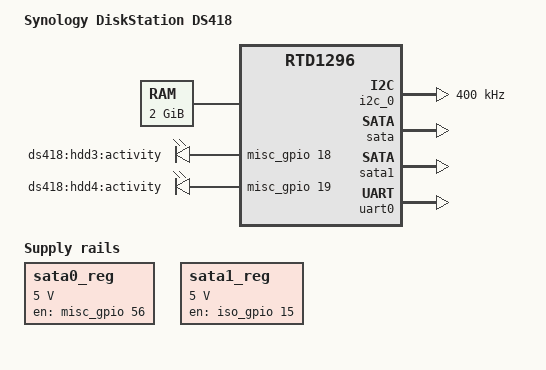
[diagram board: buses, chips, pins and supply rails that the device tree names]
// SPDX-License-Identifier: (GPL-2.0-or-later OR BSD-2-Clause)
/*
 * Copyright (c) 2017-2019 Andreas Färber
 */

/dts-v1/;

#include <dt-bindings/gpio/gpio.h>

#include "rtd1296.dtsi"

/ {
	compatible = "synology,ds418", "realtek,rtd1296";
	model = "Synology DiskStation DS418";

	memory@1f000 {
		device_type = "memory";
		reg = <0x1f000 0x7ffe1000>; /* boot ROM to 2 GiB */
	};

	aliases {
		serial0 = &uart0;
	};

	chosen {
		stdout-path = "serial0:115200n8";
	};

	sata0_reg: sata0-regulator {
		compatible = "regulator-fixed";
		regulator-name = "SATA0";
		regulator-min-microvolt = <5000000>;
		regulator-max-microvolt = <5000000>;
		gpios = <&misc_gpio 56 GPIO_ACTIVE_HIGH>;
		enable-active-high;
	};

	sata1_reg: sata1-regulator {
		compatible = "regulator-fixed";
		regulator-name = "SATA1";
		regulator-min-microvolt = <5000000>;
		regulator-max-microvolt = <5000000>;
		gpios = <&iso_gpio 15 GPIO_ACTIVE_HIGH>;
		enable-active-high;
	};

	leds {
		compatible = "gpio-leds";

		hdd1 {
			label = "ds418:hdd3:activity";
			gpios = <&misc_gpio 18 GPIO_ACTIVE_HIGH>;
			default-state = "off";
			linux,default-trigger = "heartbeat";
		};

		hdd2 {
			label = "ds418:hdd4:activity";
			gpios = <&misc_gpio 19 GPIO_ACTIVE_HIGH>;
			default-state = "off";
			linux,default-trigger = "heartbeat";
		};
	};
};

&i2c_0 {
	status = "okay";
	clock-frequency = <400000>;

#include "rtd129x-g2227.dtsi"
};

&sata {
	status = "okay";
};

&sata0 {
	target-supply = <&sata0_reg>;
};

&sata1 {
	status = "okay";
	target-supply = <&sata1_reg>;
};

&uart0 {
	status = "okay";
};
